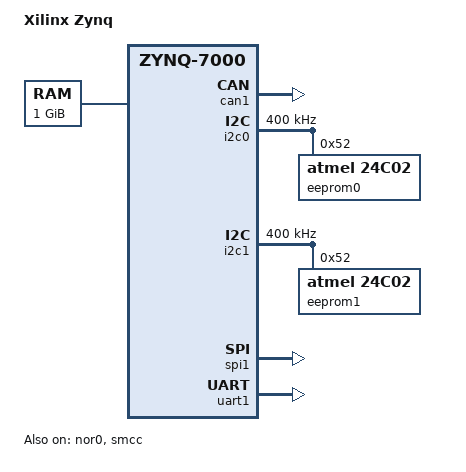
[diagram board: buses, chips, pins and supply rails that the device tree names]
// SPDX-License-Identifier: GPL-2.0+
/*
 * Xilinx ZC770 XM012 board DTS
 *
 * Copyright (C) 2013-2018 Xilinx, Inc.
 */
/dts-v1/;
#include "zynq-7000.dtsi"

/ {
	compatible = "xlnx,zynq-zc770-xm012", "xlnx,zynq-7000";
	model = "Xilinx Zynq";

	aliases {
		i2c0 = &i2c0;
		i2c1 = &i2c1;
		serial0 = &uart1;
		spi0 = &spi1;
	};

	chosen {
		bootargs = "";
		stdout-path = "serial0:115200n8";
	};

	memory@0 {
		device_type = "memory";
		reg = <0x0 0x40000000>;
	};
};

&can1 {
	status = "okay";
};

&i2c0 {
	status = "okay";
	clock-frequency = <400000>;

	eeprom0: eeprom@52 {
		compatible = "atmel,24c02";
		reg = <0x52>;
	};
};

&i2c1 {
	status = "okay";
	clock-frequency = <400000>;

	eeprom1: eeprom@52 {
		compatible = "atmel,24c02";
		reg = <0x52>;
	};
};

&nor0 {
	status = "okay";
	bank-width = <1>;
	xlnx,sram-cycle-t0 = <0xb>;
	xlnx,sram-cycle-t1 = <0xb>;
	xlnx,sram-cycle-t2 = <0x4>;
	xlnx,sram-cycle-t3 = <0x4>;
	xlnx,sram-cycle-t4 = <0x3>;
	xlnx,sram-cycle-t5 = <0x3>;
	xlnx,sram-cycle-t6 = <0x2>;
	partition@nor-fsbl-uboot {
		label = "nor-fsbl-uboot";
		reg = <0x0 0x100000>;
	};
	partition@nor-linux {
		label = "nor-linux";
		reg = <0x100000 0x500000>;
	};
	partition@nor-device-tree {
		label = "nor-device-tree";
		reg = <0x600000 0x20000>;
	};
	partition@nor-rootfs {
		label = "nor-rootfs";
		reg = <0x620000 0x5E0000>;
	};
	partition@nor-bitstream {
		label = "nor-bitstream";
		reg = <0xC00000 0x400000>;
	};
};

&smcc {
	status = "okay";
	arm,addr25 = <0x1>;
	arm,nor-chip-sel0 = <0x1>;
	arm,nor-chip-sel1 = <0x0>;
	arm,sram-chip-sel0 = <0x0>;
	arm,sram-chip-sel1 = <0x0>;
};

&spi1 {
	status = "okay";
	num-cs = <4>;
	is-decoded-cs = <0>;
};

&uart1 {
	u-boot,dm-pre-reloc;
	status = "okay";
};
